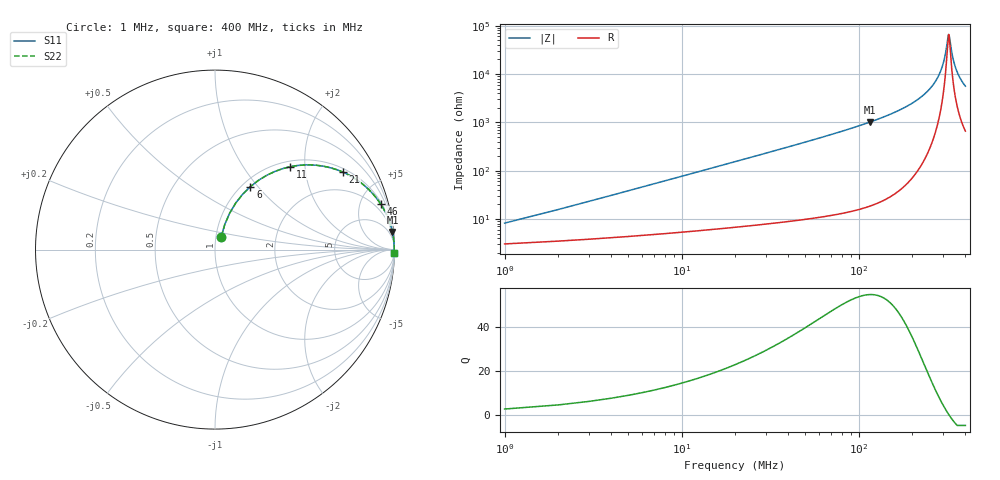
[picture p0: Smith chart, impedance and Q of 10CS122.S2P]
! Coilcraft 1008CS-122 Chip Inductor
! 02 July 2002
# MHZ S MA R 50
!Freq  MagS11  AngS11  MagS21  AngS21  MagS12  AngS12  MagS22  AngS22
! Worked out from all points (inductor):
!   400 points, 1 MHz to 400 MHz, reference 50 ohm
!   read as one part in series: L = 1.21 uH near 3 MHz
!   highest Q = 54.8 at 115 MHz (marker M1), where L = 1.39 uH
!   self-resonance near 322 MHz
!   S11 on the Smith chart (normalised r, x): 1 MHz: 1.06, +0.15; 6 MHz: 1.09, +0.92; 11 MHz: 1.11, +1.68; 21 MHz: 1.14, +3.22; 46 MHz: 1.19, +7.17; 400 MHz: open
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1  0.07956 64.0  0.9678 -4.2  0.9678 -4.2  0.07956 64.0
2  0.1497 68.7  0.956 -8.4  0.956 -8.4  0.1497 68.7
3  0.2184 68.1  0.9406 -12.4  0.9406 -12.4  0.2184 68.1
6  0.4033 60.6  0.8759 -23.7  0.8759 -23.7  0.4033 60.6
11  0.6246 47.7  0.7413 -38.6  0.7413 -38.6  0.6246 47.7
21  0.8339 31.1  0.5175 -56.4  0.5175 -56.4  0.8339 31.1
31  0.9118 22.4  0.3815 -65.7  0.3815 -65.7  0.9118 22.4
46  0.9567 15.5  0.2668 -73.0  0.2668 -73.0  0.9567 15.5
68  0.9798 10.4  0.1803 -78.4  0.1803 -78.4  0.9798 10.4
115  0.9933 5.7  0.09871 -83.3  0.09871 -83.3  0.9933 5.7
134  0.9953 4.6  0.08045 -84.3  0.08045 -84.3  0.9953 4.6
201  0.9981 2.3  0.03973 -86.1  0.03973 -86.1  0.9981 2.3
267  0.9986 0.9  0.01539 -84.5  0.01539 -84.5  0.9986 0.9
285  0.9986 0.6  0.01006 -81.9  0.01006 -81.9  0.9986 0.6
299  0.9986 0.3  0.006222 -76.8  0.006222 -76.8  0.9986 0.3
308  0.9986 0.2  0.003927 -68.4  0.003927 -68.4  0.9986 0.2
321  0.9985 0.0  0.001539 -11.2  0.001539 -11.2  0.9985 0.0
325  0.9985 -0.0  0.001688 24.6  0.001688 24.6  0.9985 -0.0
334  0.9984 -0.2  0.003325 61.3  0.003325 61.3  0.9984 -0.2
344  0.9983 -0.3  0.005567 72.4  0.005567 72.4  0.9983 -0.3
358  0.9982 -0.5  0.008737 77.9  0.008737 77.9  0.9982 -0.5
400  0.9978 -1.0  0.01778 82.2  0.01778 82.2  0.9978 -1.0
